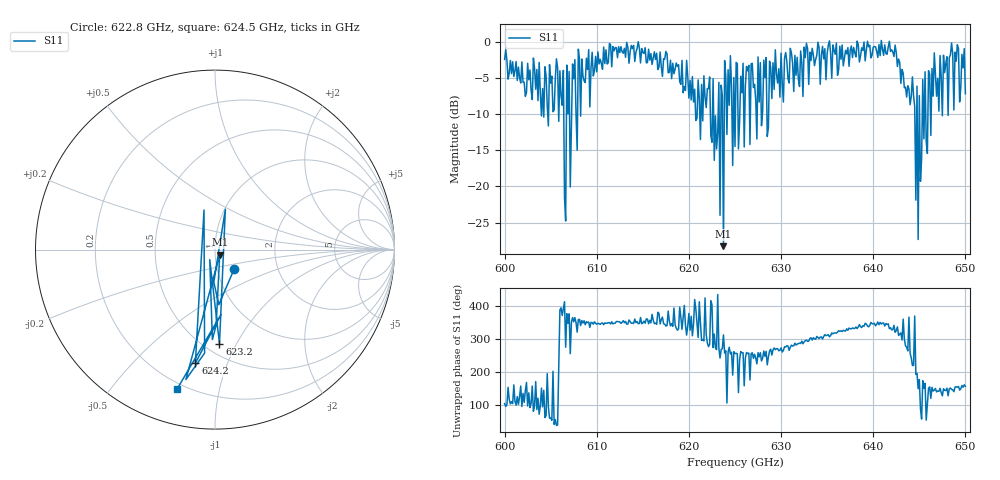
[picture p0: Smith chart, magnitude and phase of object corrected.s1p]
!Created with skrf (http://scikit-rf.org).
# GHz S MA R 50.0
!freq magS11 angS11
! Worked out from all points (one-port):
!   401 points, 600 GHz to 650 GHz, reference 50 ohm
!   lowest |S11| = -28.3 dB at 623.8 GHz (marker M1), VSWR 1.08, Z = 52.6 - j2.98 ohm
!   |S11| at or under -10 dB: 606.418 GHz to 606.7107 GHz (292.7 MHz wide, 0.0483 % of centre); 607.0461 GHz to 607.2687 GHz (222.7 MHz wide, 0.0367 % of centre); 622.6792 GHz to 623.1724 GHz (493.3 MHz wide, 0.0792 % of centre) (the widest 3 of 32)
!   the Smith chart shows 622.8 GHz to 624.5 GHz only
!   S11 on the Smith chart (normalised r, x): 622.8 GHz: 1.21, -0.26; 623.2 GHz: 0.59, -0.86; 624.2 GHz: 0.36, -0.78; 624.5 GHz: 0.17, -0.75
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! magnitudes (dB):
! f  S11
! 600 GHz  -2.4
! 604.5 GHz  -4.7
! 605.8 GHz  -3.6
! 606.2 GHz  -8.8
! 606.4 GHz  -3.9
! 608.2 GHz  -10.3
! 612.5 GHz  -1.5
! 618.8 GHz  -3.4
! 621 GHz  -5.3
! 622 GHz  -6.5
! 622.8 GHz  -16.4
! 623.2 GHz  -5.6
! 623.6 GHz  -7.5
! 623.8 GHz  -28.3
! 624.2 GHz  -3.9
! 624.5 GHz  -1.9
! 625 GHz  -14.5
! 627 GHz  -6.3
! 628.8 GHz  -2.7
! 629.1 GHz  -2.9
! 631.2 GHz  -3.0
! 637.5 GHz  -1.2
! 641.9 GHz  -1.3
! 643.8 GHz  -6.1
! 644.2 GHz  -4.8
! 644.9 GHz  -27.3
! 646.6 GHz  -1.5
! 650 GHz  -7.2
